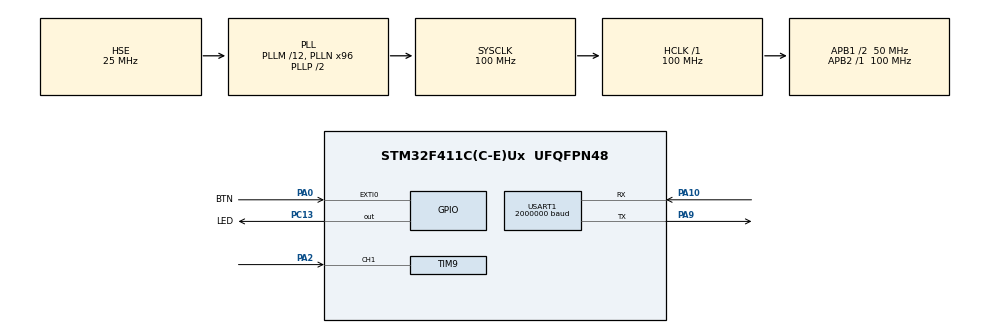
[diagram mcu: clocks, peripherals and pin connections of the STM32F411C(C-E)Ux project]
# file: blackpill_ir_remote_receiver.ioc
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Mcu.Family=STM32F4
Mcu.Name=STM32F411C(C-E)Ux
Mcu.Package=UFQFPN48
NVIC.EXTI0_IRQn=true\:0\:0\:false\:false\:true\:true\:true\:true
NVIC.PriorityGroup=NVIC_PRIORITYGROUP_4
NVIC.TIM1_BRK_TIM9_IRQn=true\:0\:0\:false\:false\:true\:true\:true\:true
PA0-WKUP.GPIO_Label=BTN
PA0-WKUP.GPIO_ModeDefaultEXTI=GPIO_MODE_IT_RISING
PA0-WKUP.GPIO_PuPd=GPIO_PULLUP
PA0-WKUP.Signal=GPXTI0
PA10.Mode=Asynchronous
PA10.Signal=USART1_RX
PA13.Mode=Serial_Wire
PA13.Signal=SYS_JTMS-SWDIO
PA14.Mode=Serial_Wire
PA14.Signal=SYS_JTCK-SWCLK
PA2.Signal=S_TIM9_CH1
PA9.Mode=Asynchronous
PA9.Signal=USART1_TX
PC13-ANTI_TAMP.GPIO_Label=LED
PC13-ANTI_TAMP.GPIO_ModeDefaultOutputPP=GPIO_MODE_OUTPUT_OD
PC13-ANTI_TAMP.GPIO_PuPd=GPIO_NOPULL
PC13-ANTI_TAMP.PinState=GPIO_PIN_SET
PC13-ANTI_TAMP.Signal=GPIO_Output
PH0\ -\ OSC_IN.Mode=HSE-External-Oscillator
PH0\ -\ OSC_IN.Signal=RCC_OSC_IN
PH1\ -\ OSC_OUT.Mode=HSE-External-Oscillator
PH1\ -\ OSC_OUT.Signal=RCC_OSC_OUT
ProjectManager.HeapSize=0x200
ProjectManager.StackSize=0x400
ProjectManager.TargetToolchain=STM32CubeIDE
RCC.48MHZClocksFreq_Value=50000000
RCC.AHBFreq_Value=100000000
RCC.APB1CLKDivider=RCC_HCLK_DIV2
RCC.APB1Freq_Value=50000000
RCC.APB1TimFreq_Value=100000000
RCC.APB2Freq_Value=100000000
RCC.APB2TimFreq_Value=100000000
RCC.CortexFreq_Value=100000000
RCC.HCLKFreq_Value=100000000
RCC.HSE_VALUE=25000000
RCC.HSI_VALUE=16000000
RCC.LSE_VALUE=32768
RCC.PLLM=12
RCC.PLLN=96
RCC.PLLSourceVirtual=RCC_PLLSOURCE_HSE
RCC.SYSCLKFreq_VALUE=100000000
RCC.SYSCLKSource=RCC_SYSCLKSOURCE_PLLCLK
RCC.VCOOutputFreq_Value=200000000
SH.S_TIM9_CH1.0=TIM9_CH1,PWM_Input_1
TIM9.Prescaler=1000 - 1
USART1.BaudRate=2000000
USART1.VirtualMode=VM_ASYNC
VP_TIM9_VS_ClockSourceINT.Mode=Internal
board=custom

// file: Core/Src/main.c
/* USER CODE BEGIN Header */
/**
 ******************************************************************************
 * @file           : main.c
 * @brief          : Main program body
 ******************************************************************************
 * @attention
 *
 * Copyright (c) 2024 Lars Boegild Thomsen <lth@stm32world.com>
 * All rights reserved.
 *
 * This software is licensed under terms that can be found in the LICENSE file
 * in the root directory of this software component.
 * If no LICENSE file comes with this software, it is provided AS-IS.
 *
 ******************************************************************************
 */
/* USER CODE END Header */
#include "main.h"

/* USER CODE BEGIN Includes */
#include <stdio.h>
/* USER CODE END Includes */

TIM_HandleTypeDef htim9;

UART_HandleTypeDef huart1;

void SystemClock_Config(void);
static void MX_GPIO_Init(void);
static void MX_USART1_UART_Init(void);
static void MX_TIM9_Init(void);

/* USER CODE BEGIN 0 */

// Send printf to uart1
int _write(int fd, char *ptr, int len) {
    HAL_StatusTypeDef hstatus;

    if (fd == 1 || fd == 2) {
        hstatus = HAL_UART_Transmit(&huart1, (uint8_t*) ptr, len,
        HAL_MAX_DELAY);
        if (hstatus == HAL_OK)
            return len;
        else
            return -1;
    }
    return -1;
}

void HAL_GPIO_EXTI_Callback(uint16_t GPIO_Pin) {
    if (GPIO_Pin == BTN_Pin) {
        printf("b\n");
    }
}

void HAL_TIM_IC_CaptureCallback(TIM_HandleTypeDef *htim) {
    if (htim->Instance == TIM9) {

        uint32_t ch = HAL_TIM_ReadCapturedValue(htim, TIM_CHANNEL_1);
        uint32_t cl = HAL_TIM_ReadCapturedValue(htim, TIM_CHANNEL_2);

        printf("t h=%lu l=%lu\n", ch - cl, cl);

//		freq = (float) TIMER_CLOCK_FREQ / (cl + 1);
//		duty = (float) 100 * ch / cl;
    }
}

/* USER CODE END 0 */

int main(void)
{

    /* MCU Configuration--------------------------------------------------------*/

    /* Reset of all peripherals, Initializes the Flash interface and the Systick. */
    HAL_Init();

    /* Configure the system clock */
    SystemClock_Config();

    /* Initialize all configured peripherals */
    MX_GPIO_Init();
    MX_USART1_UART_Init();
    MX_TIM9_Init();
    /* USER CODE BEGIN 2 */

    printf("Starting blackpill_ir_remote_receiver\n");

    HAL_TIM_IC_Start_IT(&htim9, TIM_CHANNEL_1); // Primary channel - rising edge
    HAL_TIM_IC_Start(&htim9, TIM_CHANNEL_2); // Secondary channel - falling edge

    /* USER CODE END 2 */

    /* Infinite loop */
    /* USER CODE BEGIN WHILE */

    uint32_t now = 0, next_blink = 500, next_tick = 1000, loop_cnt = 0;

    while (1) {

        now = HAL_GetTick();

        //if (now - last_blink >= blink_delays[blink_delay]) {
        if (now >= next_blink) {

            HAL_GPIO_TogglePin(LED_GPIO_Port, LED_Pin);

            next_blink = now + 500;

        }

        if (now >= next_tick) {

            printf("Tick %lu (loop count = %lu)\n", now / 1000, loop_cnt);

            loop_cnt = 0;
            next_tick = now + 1000;

        }

        ++loop_cnt;

        /* USER CODE END WHILE */

    }
}

void SystemClock_Config(void)
{
    RCC_OscInitTypeDef RCC_OscInitStruct = { 0 };
    RCC_ClkInitTypeDef RCC_ClkInitStruct = { 0 };

    /** Configure the main internal regulator output voltage
     */
    __HAL_RCC_PWR_CLK_ENABLE();
    __HAL_PWR_VOLTAGESCALING_CONFIG(PWR_REGULATOR_VOLTAGE_SCALE1);

    /** Initializes the RCC Oscillators according to the specified parameters
     * in the RCC_OscInitTypeDef structure.
     */
    RCC_OscInitStruct.OscillatorType = RCC_OSCILLATORTYPE_HSE;
    RCC_OscInitStruct.HSEState = RCC_HSE_ON;
    RCC_OscInitStruct.PLL.PLLState = RCC_PLL_ON;
    RCC_OscInitStruct.PLL.PLLSource = RCC_PLLSOURCE_HSE;
    RCC_OscInitStruct.PLL.PLLM = 12;
    RCC_OscInitStruct.PLL.PLLN = 96;
    RCC_OscInitStruct.PLL.PLLP = RCC_PLLP_DIV2;
    RCC_OscInitStruct.PLL.PLLQ = 4;
    if (HAL_RCC_OscConfig(&RCC_OscInitStruct) != HAL_OK)
            {
        Error_Handler();
    }

    /** Initializes the CPU, AHB and APB buses clocks
     */
    RCC_ClkInitStruct.ClockType = RCC_CLOCKTYPE_HCLK | RCC_CLOCKTYPE_SYSCLK
            | RCC_CLOCKTYPE_PCLK1 | RCC_CLOCKTYPE_PCLK2;
    RCC_ClkInitStruct.SYSCLKSource = RCC_SYSCLKSOURCE_PLLCLK;
    RCC_ClkInitStruct.AHBCLKDivider = RCC_SYSCLK_DIV1;
    RCC_ClkInitStruct.APB1CLKDivider = RCC_HCLK_DIV2;
    RCC_ClkInitStruct.APB2CLKDivider = RCC_HCLK_DIV1;

    if (HAL_RCC_ClockConfig(&RCC_ClkInitStruct, FLASH_LATENCY_3) != HAL_OK)
            {
        Error_Handler();
    }
}

static void MX_TIM9_Init(void)
{

    TIM_ClockConfigTypeDef sClockSourceConfig = { 0 };
    TIM_SlaveConfigTypeDef sSlaveConfig = { 0 };
    TIM_IC_InitTypeDef sConfigIC = { 0 };

    htim9.Instance = TIM9;
    htim9.Init.Prescaler = 1000 - 1;
    htim9.Init.CounterMode = TIM_COUNTERMODE_UP;
    htim9.Init.Period = 65535;
    htim9.Init.ClockDivision = TIM_CLOCKDIVISION_DIV1;
    htim9.Init.AutoReloadPreload = TIM_AUTORELOAD_PRELOAD_DISABLE;
    if (HAL_TIM_Base_Init(&htim9) != HAL_OK)
            {
        Error_Handler();
    }
    sClockSourceConfig.ClockSource = TIM_CLOCKSOURCE_INTERNAL;
    if (HAL_TIM_ConfigClockSource(&htim9, &sClockSourceConfig) != HAL_OK)
            {
        Error_Handler();
    }
    if (HAL_TIM_IC_Init(&htim9) != HAL_OK)
            {
        Error_Handler();
    }
    sSlaveConfig.SlaveMode = TIM_SLAVEMODE_RESET;
    sSlaveConfig.InputTrigger = TIM_TS_TI1FP1;
    sSlaveConfig.TriggerPolarity = TIM_INPUTCHANNELPOLARITY_RISING;
    sSlaveConfig.TriggerPrescaler = TIM_ICPSC_DIV1;
    sSlaveConfig.TriggerFilter = 0;
    if (HAL_TIM_SlaveConfigSynchro(&htim9, &sSlaveConfig) != HAL_OK)
            {
        Error_Handler();
    }
    sConfigIC.ICPolarity = TIM_INPUTCHANNELPOLARITY_RISING;
    sConfigIC.ICSelection = TIM_ICSELECTION_DIRECTTI;
    sConfigIC.ICPrescaler = TIM_ICPSC_DIV1;
    sConfigIC.ICFilter = 0;
    if (HAL_TIM_IC_ConfigChannel(&htim9, &sConfigIC, TIM_CHANNEL_1) != HAL_OK)
            {
        Error_Handler();
    }
    sConfigIC.ICPolarity = TIM_INPUTCHANNELPOLARITY_FALLING;
    sConfigIC.ICSelection = TIM_ICSELECTION_INDIRECTTI;
    if (HAL_TIM_IC_ConfigChannel(&htim9, &sConfigIC, TIM_CHANNEL_2) != HAL_OK)
            {
        Error_Handler();
    }

}

static void MX_USART1_UART_Init(void)
{

    huart1.Instance = USART1;
    huart1.Init.BaudRate = 2000000;
    huart1.Init.WordLength = UART_WORDLENGTH_8B;
    huart1.Init.StopBits = UART_STOPBITS_1;
    huart1.Init.Parity = UART_PARITY_NONE;
    huart1.Init.Mode = UART_MODE_TX_RX;
    huart1.Init.HwFlowCtl = UART_HWCONTROL_NONE;
    huart1.Init.OverSampling = UART_OVERSAMPLING_16;
    if (HAL_UART_Init(&huart1) != HAL_OK)
            {
        Error_Handler();
    }

}

static void MX_GPIO_Init(void)
{
    GPIO_InitTypeDef GPIO_InitStruct = { 0 };

    /* GPIO Ports Clock Enable */
    __HAL_RCC_GPIOC_CLK_ENABLE();
    __HAL_RCC_GPIOH_CLK_ENABLE();
    __HAL_RCC_GPIOA_CLK_ENABLE();

    /*Configure GPIO pin Output Level */
    HAL_GPIO_WritePin(LED_GPIO_Port, LED_Pin, GPIO_PIN_SET);

    /*Configure GPIO pin : LED_Pin */
    GPIO_InitStruct.Pin = LED_Pin;
    GPIO_InitStruct.Mode = GPIO_MODE_OUTPUT_OD;
    GPIO_InitStruct.Pull = GPIO_NOPULL;
    GPIO_InitStruct.Speed = GPIO_SPEED_FREQ_LOW;
    HAL_GPIO_Init(LED_GPIO_Port, &GPIO_InitStruct);

    /*Configure GPIO pin : BTN_Pin */
    GPIO_InitStruct.Pin = BTN_Pin;
    GPIO_InitStruct.Mode = GPIO_MODE_IT_RISING;
    GPIO_InitStruct.Pull = GPIO_PULLUP;
    HAL_GPIO_Init(BTN_GPIO_Port, &GPIO_InitStruct);

    /* EXTI interrupt init*/
    HAL_NVIC_SetPriority(EXTI0_IRQn, 0, 0);
    HAL_NVIC_EnableIRQ(EXTI0_IRQn);

}

void Error_Handler(void)
{
    __disable_irq();
    while (1) {
    }
}
